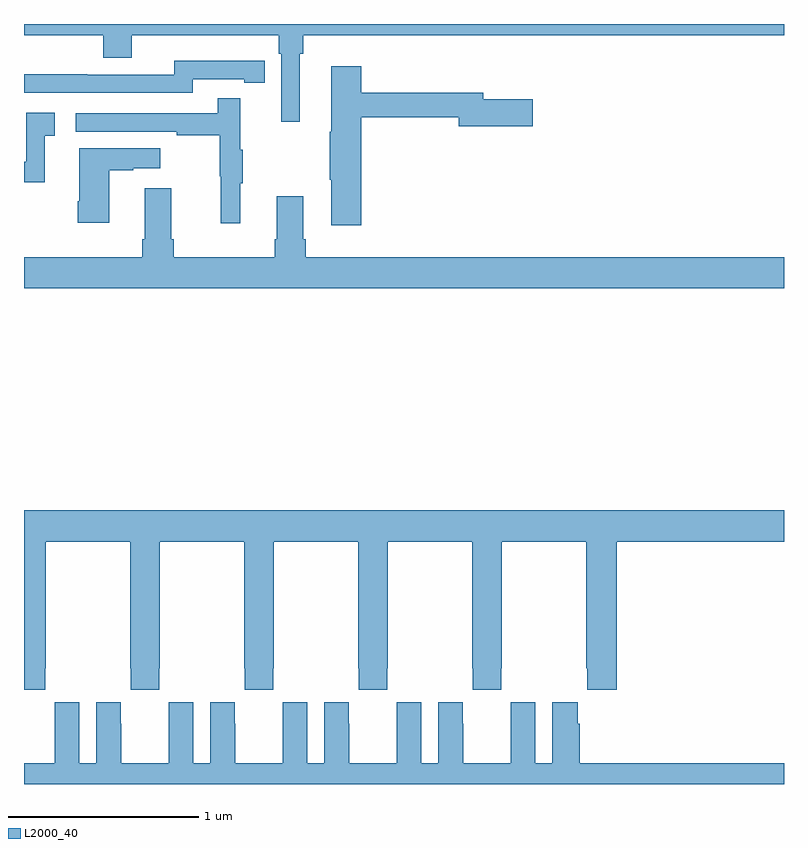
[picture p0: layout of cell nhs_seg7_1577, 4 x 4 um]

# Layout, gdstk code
import gdstk
lib = gdstk.Library(unit=1e-6, precision=1e-09)
def P(c, l, *ps):  # polygons
    for p in ps: c.add(gdstk.Polygon(p, *l))
L2000_40 = (2000, 40)

nhs_seg7_1577 = lib.new_cell('nhs_seg7_1577')
P(nhs_seg7_1577, L2000_40, [(220.45,1009.844),(220.469,1009.844),(220.469,1009.94),(223,1009.94),(223,1010),(219,1010),(219,1009.94),(219.416,1009.94),(219.416,1009.823),(219.568,1009.823),(219.568,1009.94),(220.34,1009.94),(220.34,1009.844),(220.353,1009.844),(220.353,1009.485),(220.45,1009.485)],
  [(219.888,1009.71),(220.16,1009.71),(220.16,1009.69),(220.268,1009.69),(220.268,1009.806),(220.16,1009.806),(220.16,1009.807),(219.792,1009.807),(219.792,1009.734),(219.332,1009.734),(219.332,1009.736),(219,1009.736),(219,1009.638),(219.888,1009.638)],
  [(220.775,1009.51),(221.288,1009.51),(221.288,1009.463),(221.677,1009.463),(221.677,1009.605),(221.416,1009.605),(221.416,1009.639),(220.775,1009.639),(220.775,1009.777),(220.616,1009.777),(220.616,1009.433),(220.609,1009.433),(220.609,1009.18),(220.616,1009.18),(220.616,1008.942),(220.775,1008.942)],
  [(220.139,1009.163),(220.15,1009.163),(220.15,1009.337),(220.139,1009.337),(220.139,1009.609),(220.021,1009.609),(220.021,1009.53),(219.273,1009.53),(219.273,1009.434),(219.805,1009.434),(219.805,1009.414),(220.029,1009.414),(220.029,1009.2),(220.036,1009.2),(220.036,1008.951),(220.139,1008.951)],
  [(219.11,1009.413),(219.163,1009.413),(219.163,1009.534),(219.012,1009.534),(219.012,1009.275),(219,1009.275),(219,1009.167),(219.11,1009.167)],
  [(219.448,1009.231),(219.575,1009.231),(219.575,1009.241),(219.718,1009.241),(219.718,1009.345),(219.29,1009.345),(219.29,1009.066),(219.283,1009.066),(219.283,1008.954),(219.448,1008.954)],
  [(223,1008.772),(220.484,1008.772),(220.484,1008.868),(220.471,1008.868),(220.471,1009.093),(220.331,1009.093),(220.331,1008.868),(220.319,1008.868),(220.319,1008.772),(219.788,1008.772),(219.788,1008.868),(219.775,1008.868),(219.775,1009.135),(219.635,1009.135),(219.635,1008.868),(219.623,1008.868),(219.623,1008.772),(219,1008.772),(219,1008.608),(223,1008.608)],
  [(219.111,1006.609),(219.114,1006.609),(219.114,1007.276),(219.559,1007.276),(219.559,1006.609),(219.561,1006.609),(219.561,1006.497),(219.711,1006.497),(219.711,1006.609),(219.714,1006.609),(219.714,1007.276),(220.159,1007.276),(220.159,1006.609),(220.161,1006.609),(220.161,1006.497),(220.311,1006.497),(220.311,1006.609),(220.314,1006.609),(220.314,1007.276),(220.759,1007.276),(220.759,1006.609),(220.761,1006.609),(220.761,1006.497),(220.911,1006.497),(220.911,1006.609),(220.914,1006.609),(220.914,1007.276),(221.359,1007.276),(221.359,1006.609),(221.361,1006.609),(221.361,1006.497),(221.511,1006.497),(221.511,1006.609),(221.514,1006.609),(221.514,1007.276),(221.959,1007.276),(221.959,1006.609),(221.965,1006.609),(221.965,1006.497),(222.119,1006.497),(222.119,1007.276),(223,1007.276),(223,1007.44),(219,1007.44),(219,1006.497),(219.111,1006.497)],
  [(220.71,1006.316),(220.71,1006.429),(220.58,1006.429),(220.58,1006.108),(220.492,1006.108),(220.492,1006.429),(220.362,1006.429),(220.362,1006.316),(220.361,1006.316),(220.361,1006.108),(220.111,1006.108),(220.111,1006.316),(220.11,1006.316),(220.11,1006.429),(219.98,1006.429),(219.98,1006.108),(219.892,1006.108),(219.892,1006.429),(219.762,1006.429),(219.762,1006.316),(219.761,1006.316),(219.761,1006.108),(219.511,1006.108),(219.511,1006.316),(219.51,1006.316),(219.51,1006.429),(219.38,1006.429),(219.38,1006.108),(219.292,1006.108),(219.292,1006.429),(219.162,1006.429),(219.162,1006.316),(219.161,1006.316),(219.161,1006.108),(219,1006.108),(219,1006),(223,1006),(223,1006.108),(221.924,1006.108),(221.924,1006.316),(221.914,1006.316),(221.914,1006.429),(221.78,1006.429),(221.78,1006.108),(221.692,1006.108),(221.692,1006.429),(221.562,1006.429),(221.562,1006.316),(221.561,1006.316),(221.561,1006.108),(221.311,1006.108),(221.311,1006.316),(221.31,1006.316),(221.31,1006.429),(221.18,1006.429),(221.18,1006.108),(221.092,1006.108),(221.092,1006.429),(220.962,1006.429),(220.962,1006.316),(220.961,1006.316),(220.961,1006.108),(220.711,1006.108),(220.711,1006.316)])

lib.write_gds('nhs_seg7_1577.gds')
